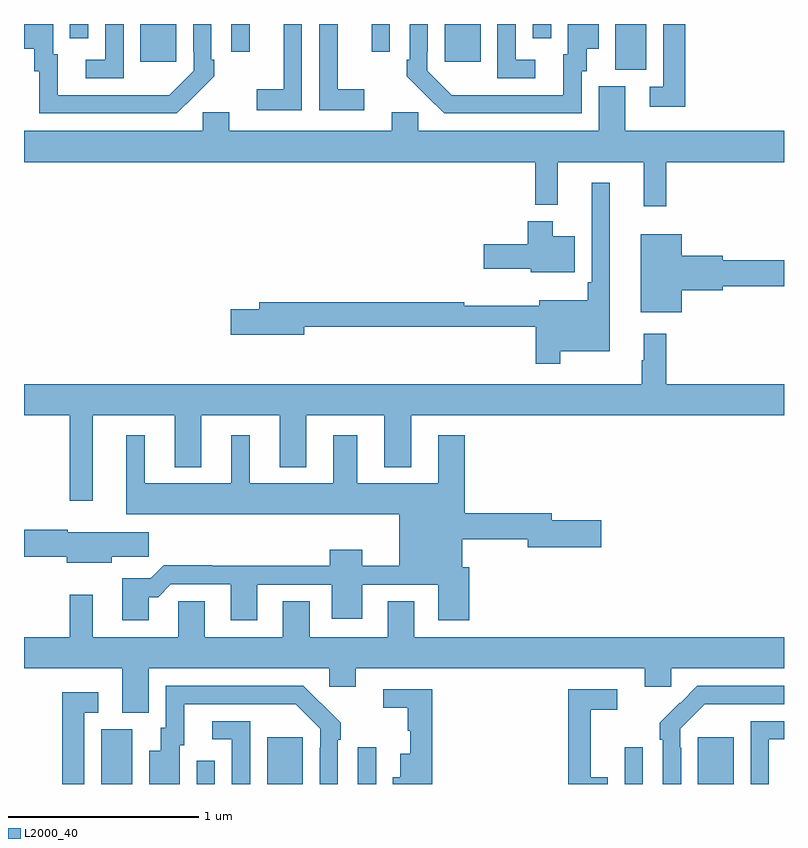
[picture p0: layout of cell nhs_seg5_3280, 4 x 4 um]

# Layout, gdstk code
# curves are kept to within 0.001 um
import gdstk
lib = gdstk.Library(unit=1e-6, precision=1e-09)
def R(c, l, rs):  # rectangles x0, y0, x1, y1
    for r in rs: c.add(gdstk.rectangle(r[:2], r[2:], *l))
def P(c, l, *ps):  # polygons
    for p in ps: c.add(gdstk.Polygon(p, *l))
L2000_40 = (2000, 40)

nhs_seg5_3280 = lib.new_cell('nhs_seg5_3280')
R(nhs_seg5_3280, L2000_40, [(301.406,874.799,301.57,875.088), (301.908,874.799,302.004,874.921), (302.279,874.799,302.467,875.044), (302.757,874.799,302.853,874.993), (304.161,874.799,304.257,874.993), (304.547,874.799,304.735,875.044), (304.112,878.557,304.276,878.799), (301.613,878.601,301.801,878.799), (303.215,878.601,303.403,878.799), (302.091,878.652,302.187,878.799), (302.829,878.652,302.925,878.799), (301.242,878.724,301.338,878.799), (303.678,878.724,303.774,878.799)])
P(nhs_seg5_3280, L2000_40, [(301.524,878.799),(301.428,878.799),(301.428,878.61),(301.326,878.61),(301.326,878.514),(301.524,878.514)],
  [(302.463,878.799),(302.366,878.799),(302.366,878.455),(302.226,878.455),(302.226,878.346),(302.463,878.346)],
  [(303.691,878.61),(303.588,878.61),(303.588,878.799),(303.492,878.799),(303.492,878.514),(303.691,878.514)],
  [(304.481,878.799),(304.365,878.799),(304.365,878.469),(304.293,878.469),(304.293,878.364),(304.481,878.364)],
  [(303.936,878.55),(303.961,878.55),(303.961,878.669),(304.024,878.669),(304.024,878.799),(303.863,878.799),(303.863,878.64),(303.839,878.64),(303.839,878.424),(303.252,878.425),(303.123,878.553),(303.123,878.653),(303.126,878.653),(303.126,878.799),(303.03,878.799),(303.03,878.611),(303.015,878.611),(303.015,878.523),(303.212,878.328),(303.936,878.328)],
  [(301.895,878.419),(301.896,878.418),(302.001,878.523),(302.001,878.611),(301.986,878.611),(301.986,878.799),(301.89,878.799),(301.89,878.653),(301.893,878.653),(301.893,878.553),(301.765,878.425),(301.661,878.424),(301.177,878.424),(301.177,878.64),(301.153,878.64),(301.153,878.799),(301,878.799),(301,878.669),(301.055,878.669),(301.055,878.55),(301.08,878.55),(301.08,878.328),(301.804,878.328)],
  [(302.791,878.455),(302.651,878.455),(302.651,878.799),(302.553,878.799),(302.553,878.346),(302.791,878.346)],
  [(304.379,878.072),(305,878.072),(305,878.236),(304.165,878.236),(304.165,878.472),(304.025,878.472),(304.025,878.236),(303.075,878.236),(303.075,878.334),(302.936,878.334),(302.936,878.236),(302.08,878.236),(302.08,878.334),(301.941,878.334),(301.941,878.236),(301,878.236),(301,878.072),(303.691,878.072),(303.691,877.847),(303.809,877.847),(303.809,878.072),(304.262,878.072),(304.262,877.839),(304.379,877.839)],
  [(303.823,877.076),(304.084,877.076),(304.084,877.963),(303.987,877.963),(303.987,877.441),(303.967,877.441),(303.967,877.345),(303.713,877.345),(303.713,877.316),(303.317,877.316),(303.317,877.334),(302.237,877.334),(302.237,877.298),(302.088,877.298),(302.088,877.163),(302.476,877.163),(302.476,877.206),(303.694,877.206),(303.694,877.011),(303.823,877.011)],
  [(303.898,877.681),(303.784,877.681),(303.784,877.762),(303.65,877.762),(303.65,877.641),(303.42,877.641),(303.42,877.511),(303.666,877.511),(303.666,877.493),(303.898,877.493)],
  [(304.462,877.397),(304.678,877.397),(304.678,877.42),(305,877.42),(305,877.556),(304.678,877.556),(304.678,877.58),(304.462,877.58),(304.462,877.693),(304.247,877.693),(304.247,877.283),(304.462,877.283)],
  [(301.363,876.74),(301.793,876.74),(301.793,876.467),(301.933,876.467),(301.933,876.74),(302.345,876.74),(302.345,876.467),(302.485,876.467),(302.485,876.74),(302.897,876.74),(302.897,876.467),(303.037,876.467),(303.037,876.74),(305,876.74),(305,876.904),(304.379,876.904),(304.379,877.168),(304.262,877.168),(304.262,877.028),(304.251,877.028),(304.251,876.904),(301,876.904),(301,876.74),(301.242,876.74),(301.242,876.291),(301.363,876.291)],
  [(301.657,875.783),(301.706,875.783),(301.773,875.85),(302.087,875.85),(302.087,875.661),(302.227,875.661),(302.227,875.847),(302.621,875.847),(302.621,875.669),(302.779,875.669),(302.779,875.847),(303.179,875.847),(303.179,875.661),(303.344,875.661),(303.344,875.94),(303.307,875.94),(303.307,876.088),(303.65,876.088),(303.65,876.046),(304.039,876.046),(304.039,876.188),(303.778,876.188),(303.778,876.224),(303.32,876.224),(303.32,876.634),(303.179,876.634),(303.179,876.382),(302.755,876.382),(302.755,876.634),(302.627,876.634),(302.627,876.382),(302.188,876.382),(302.188,876.634),(302.09,876.634),(302.09,876.382),(301.636,876.382),(301.636,876.634),(301.538,876.634),(301.538,876.218),(302.975,876.218),(302.975,875.948),(302.779,875.948),(302.779,876.031),(302.609,876.031),(302.609,875.948),(301.991,875.948),(301.991,875.951),(301.736,875.951),(301.666,875.881),(301.517,875.881),(301.517,875.661),(301.657,875.661)],
  [(301.462,875.995),(301.657,875.995),(301.657,876.124),(301.23,876.124),(301.23,876.137),(301,876.137),(301,875.995),(301.226,875.995),(301.226,875.963),(301.462,875.963)],
  [(301.657,875.408),(302.607,875.408),(302.607,875.31),(302.746,875.31),(302.746,875.408),(304.268,875.408),(304.268,875.31),(304.407,875.31),(304.407,875.408),(305,875.408),(305,875.572),(303.055,875.572),(303.055,875.762),(302.915,875.762),(302.915,875.572),(302.503,875.572),(302.503,875.762),(302.363,875.762),(302.363,875.572),(301.951,875.572),(301.951,875.762),(301.812,875.762),(301.812,875.572),(301.363,875.572),(301.363,875.794),(301.242,875.794),(301.242,875.572),(301,875.572),(301,875.408),(301.517,875.408),(301.517,875.173),(301.657,875.173)],
  [(301.819,875.004),(301.843,875.004),(301.843,875.22),(302.431,875.22),(302.559,875.091),(302.559,874.991),(302.556,874.991),(302.556,874.799),(302.652,874.799),(302.652,875.033),(302.667,875.033),(302.667,875.121),(302.47,875.316),(301.746,875.316),(301.746,875.094),(301.721,875.094),(301.721,874.975),(301.658,874.975),(301.658,874.799),(301.819,874.799)],
  [(304.458,874.991),(304.455,874.991),(304.455,875.091),(304.584,875.22),(305,875.22),(305,875.316),(304.544,875.316),(304.347,875.121),(304.347,875.033),(304.362,875.033),(304.362,874.799),(304.458,874.799)],
  [(304.072,874.834),(303.983,874.834),(303.983,875.19),(304.123,875.19),(304.123,875.298),(303.865,875.298),(303.865,874.799),(304.072,874.799)],
  [(303.149,875.298),(302.892,875.298),(302.892,875.2),(303.021,875.2),(303.021,875.079),(303.032,875.079),(303.032,874.957),(302.981,874.957),(302.981,874.834),(302.942,874.834),(302.942,874.799),(303.149,874.799)],
  [(301.317,875.175),(301.39,875.175),(301.39,875.281),(301.201,875.281),(301.201,874.799),(301.317,874.799)],
  [(304.92,875.034),(305,875.034),(305,875.13),(304.824,875.13),(304.824,874.799),(304.92,874.799)],
  [(302.19,875.13),(301.992,875.13),(301.992,875.034),(302.094,875.034),(302.094,874.799),(302.19,874.799)])

lib.write_gds('nhs_seg5_3280.gds')
